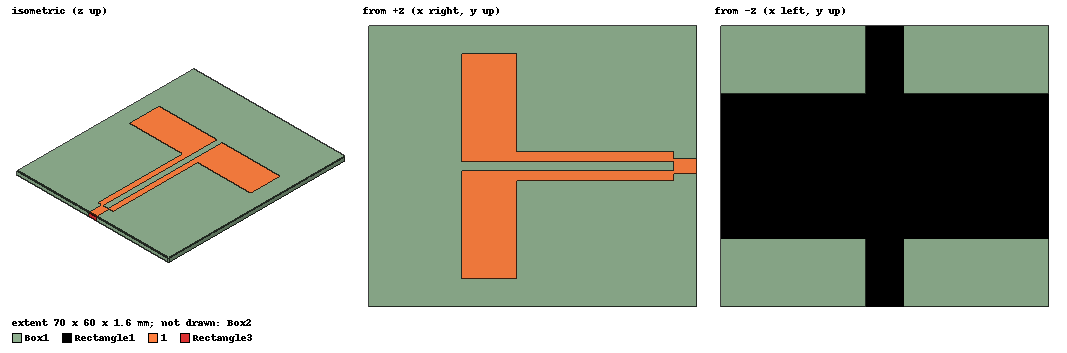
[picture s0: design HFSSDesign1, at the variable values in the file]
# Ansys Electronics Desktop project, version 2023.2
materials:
  vacuum: permittivity=1
  FR4_epoxy: permittivity=4.4 dielectric_loss_tangent=0.02

design HFSSDesign1 (HFSS, HFSS Terminal Network, model units mm)
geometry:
  Box1 [FR4_epoxy] = box(corner=(0mm, 0mm, 0mm), size=(70mm, 60mm, 1.6mm))
  Rectangle1 = rectangle(corner=(70mm, 14.5mm, 0mm), x_size=-70mm, y_size=31mm)
  Rectangle2 = rectangle(corner=(31mm, 0mm, 0mm), x_size=8mm, y_size=60mm)
  Rectangle1.unite(Rectangle2)
  1 = rectangle(corner=(70mm, 28.5mm, 1.6mm), x_size=-5mm, y_size=3mm)
  2 = rectangle(corner=(65mm, (30+1) mm, 1.6mm), x_size=-33.5mm, y_size=2mm)
  3 = rectangle(corner=(65mm, (30-1) mm, 1.6mm), x_size=-33.5mm, y_size=-2mm)
  4 = rectangle(corner=(31.5mm, 29mm, 1.6mm), x_size=-11.7mm, y_size=-23mm)
  5 = rectangle(corner=(31.5mm, 31mm, 1.6mm), x_size=-11.7mm, y_size=23mm)
  1.unite(2..5)
  Rectangle3 = rectangle(corner=(70mm, 28.5mm, 1.6mm), y_size=3mm, z_size=-1.6mm)
  Box2 [vacuum] = box(corner=(-23mm, -23mm, -23mm), size=((23*2+70) mm, (23*2+60) mm, (23*2+16) mm))
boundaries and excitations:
  PerfE1: Perfect E Objects=1
  PerfE2: Perfect E Objects=Rectangle1
  Rad1: Radiation Objects=Box2
  1: Lumped Port Objects=Rectangle3 LumpedPortType=Modal Modes{Mode1{IntLine{(70, 30, 0) -> (70, 30, 1.6)} CharImp=Zpi}} Impedance=50ohm
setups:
  Setup1: HfssDriven Frequency=5.25GHz MaxDeltaS=0.02 MaximumPasses=20 MinimumPasses=1 MinimumConvergedPasses=1 PercentRefinement=30 BasisOrder=1 PortAccuracy=2 DrivenSolverType="Direct Solver"
    sweep Sweep: 2GHz to 7GHz, 401 points; Type=Discrete SaveFields
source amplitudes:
  1:1: 1V 0deg
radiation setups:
  Infinite Sphere1: Infinite Sphere Theta=0deg..180deg step 10deg Phi=0deg..180deg step 180deg
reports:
  Terminal S Parameter Plot 1: dB(St(1,1)) vs Freq on Setup1 : Sweep
